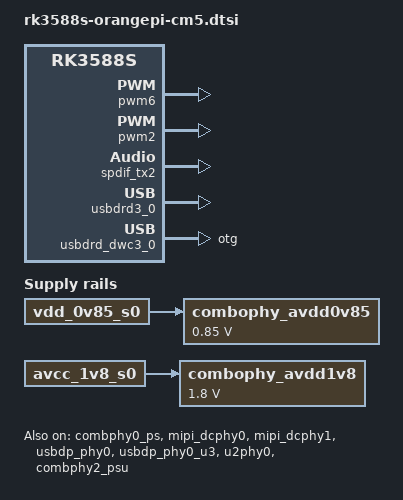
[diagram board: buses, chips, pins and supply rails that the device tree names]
// SPDX-License-Identifier: (GPL-2.0+ OR MIT)
/*
 * Copyright (c) 2021 Rockchip Electronics Co., Ltd.
 *
 */

#include "dt-bindings/usb/pd.h"
#include "rk3588s.dtsi"
#include "rk3588s-orangepi.dtsi"
#include "rk3588-rk806-single.dtsi"

/ {
	combophy_avdd0v85: combophy-avdd0v85 {
		compatible = "regulator-fixed";
		regulator-name = "combophy_avdd0v85";
		regulator-boot-on;
		regulator-always-on;
		regulator-min-microvolt = <850000>;
		regulator-max-microvolt = <850000>;
		vin-supply = <&vdd_0v85_s0>;
	};

	combophy_avdd1v8: combophy-avdd1v8 {
		compatible = "regulator-fixed";
		regulator-name = "combophy_avdd1v8";
		regulator-boot-on;
		regulator-always-on;
		regulator-min-microvolt = <1800000>;
		regulator-max-microvolt = <1800000>;
		vin-supply = <&avcc_1v8_s0>;
	};
};

&pwm6 {
	status = "okay";
	pinctrl-names = "active";
	pinctrl-0 = <&pwm6m0_pins>;
};

&pwm2 {
	status = "okay";
	pinctrl-names = "active";
	pinctrl-0 = <&pwm2m0_pins>;
};

&backlight_1 {
	status = "disabled";
};

&backlight {
	status = "disabled";
};

&combphy0_ps {
	status = "okay";
};

&dp0 {
	status = "disabled";
};

&dp0_in_vp1 {
	status = "disabled";
};

&dp0_in_vp2 {
	status = "disabled";
};

&dp0_sound{
	status = "disabled";
};

&spdif_tx2{
	status = "okay";
};

&mipi_dcphy0 {
	status = "okay";
};

&mipi_dcphy1 {
	status = "okay";
};

&pcie2x1l1 {
	status = "disabled";
};

&pcie2x1l2 {
	reset-gpios = <&gpio3 RK_PD1 GPIO_ACTIVE_HIGH>;
	rockchip,skip-scan-in-resume;
	status = "disabled";
};

&uart9 {
	status = "disabled";
	pinctrl-names = "default";
	pinctrl-0 = <&uart9m2_xfer &uart9m2_ctsn>;
};

&usbdp_phy0 {
	status = "okay";
	rockchip,dp-lane-mux = <2 3>;
};

&usbdp_phy0_dp {
	status = "disbaled";
};

&usbdp_phy0_u3 {
        status = "okay";
};

&usbdrd3_0 {
	status = "okay";
};

&usbdrd_dwc3_0 {
	status = "okay";
	dr_mode = "otg";
	extcon = <&u2phy0>;
};

&u2phy0 {
	status = "okay";
};

&usbhost_dwc3_0 {
	status = "disabled";
};

&combphy2_psu {
	status = "okay";
};

&usbhost3_0 {
	status = "disabled";
};
